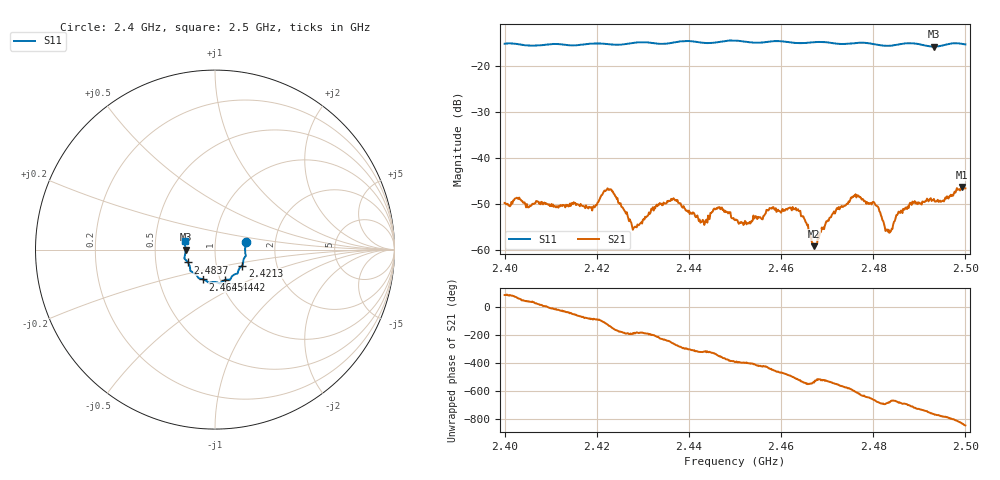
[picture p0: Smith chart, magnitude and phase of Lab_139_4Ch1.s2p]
# Hz S RI R 50
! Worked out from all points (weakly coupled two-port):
!   601 points, 2.4 GHz to 2.5 GHz, reference 50 ohm
!   highest |S21| = -46.21 dB at 2.4992 GHz (marker M1); lowest = -59.1 dB at 2.4672 GHz (marker M2)
!   lowest |S11| = -15.7 dB at 2.4932 GHz (marker M3), VSWR 1.39, Z = 35.9 - j0.0552 ohm
!   |S11| at or under -10 dB: start of sweep to end of sweep
!   S12 and S22 are empty: the file has one direction only
!   S11 on the Smith chart (normalised r, x): 2.4 GHz: 1.41, +0.12; 2.4213 GHz: 1.33, -0.25; 2.4442 GHz: 1.05, -0.37; 2.4645 GHz: 0.83, -0.29; 2.4837 GHz: 0.73, -0.11; 2.5 GHz: 0.71, +0.07
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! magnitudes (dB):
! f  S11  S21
! 2.4 GHz  -15.1  -49.7
! 2.4167 GHz  -15.3  -50.2
! 2.4213 GHz  -15.1  -47.6
! 2.4233 GHz  -15.3  -47.2
! 2.4282 GHz  -14.9  -55.0
! 2.4333 GHz  -15.1  -50.0
! 2.437 GHz  -14.8  -49.1
! 2.4442 GHz  -15.0  -52.4
! 2.4467 GHz  -14.7  -50.6
! 2.45 GHz  -14.4  -53.4
! 2.4645 GHz  -15.0  -52.5
! 2.4667 GHz  -14.8  -58.1
! 2.4672 GHz  -14.8  -59.1
! 2.4717 GHz  -15.0  -52.0
! 2.4763 GHz  -14.9  -48.5
! 2.4805 GHz  -15.3  -50.2
! 2.4833 GHz  -15.6  -55.5
! 2.4837 GHz  -15.5  -55.9
! 2.4883 GHz  -15.0  -50.1
! 2.4932 GHz  -15.7  -48.8
! 2.4992 GHz  -15.1  -46.2
! 2.5 GHz  -15.3  -46.5
